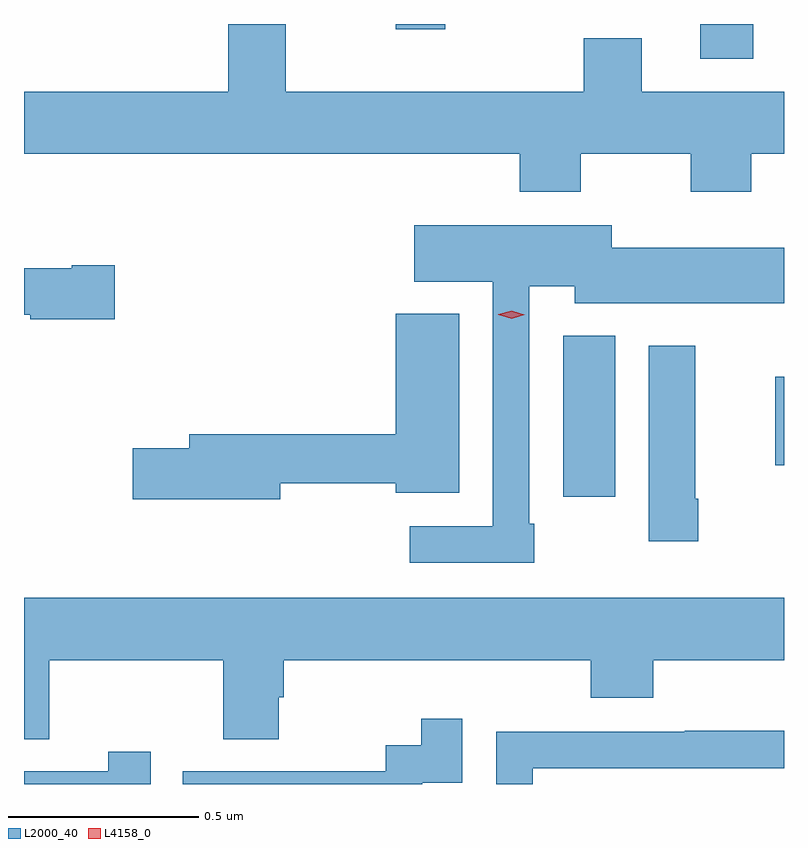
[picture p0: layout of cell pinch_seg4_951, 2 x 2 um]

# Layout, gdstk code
import gdstk
lib = gdstk.Library(unit=1e-6, precision=1e-09)
def R(c, l, rs):  # rectangles x0, y0, x1, y1
    for r in rs: c.add(gdstk.rectangle(r[:2], r[2:], *l))
def P(c, l, *ps):  # polygons
    for p in ps: c.add(gdstk.Polygon(p, *l))
L2000_40 = (2000, 40)
L4158_0 = (4158, 0)

pinch_seg4_951 = lib.new_cell('pinch_seg4_951')
R(pinch_seg4_951, L2000_40, [(648.875,805.242,649.012,805.666), (649.433,805.325,649.456,805.558), (649.235,806.394,649.375,806.486), (648.434,806.472,648.565,806.486)])
P(pinch_seg4_951, L2000_40, [(648.921,806.144),(649.21,806.144),(649.21,806.045),(649.37,806.045),(649.37,806.144),(649.456,806.144),(649.456,806.308),(649.081,806.308),(649.081,806.449),(648.929,806.449),(648.929,806.308),(648.145,806.308),(648.145,806.486),(647.993,806.486),(647.993,806.308),(647.456,806.308),(647.456,806.144),(648.761,806.144),(648.761,806.045),(648.921,806.045)],
  [(648.799,805.171),(648.786,805.171),(648.786,805.796),(648.905,805.796),(648.905,805.751),(649.456,805.751),(649.456,805.897),(649.003,805.897),(649.003,805.957),(648.483,805.957),(648.483,805.808),(648.69,805.808),(648.69,805.164),(648.471,805.164),(648.471,805.068),(648.799,805.068)],
  [(647.695,805.851),(647.582,805.851),(647.582,805.843),(647.456,805.843),(647.456,805.721),(647.472,805.721),(647.472,805.709),(647.695,805.709)],
  [(648.13,805.278),(648.434,805.278),(648.434,805.253),(648.601,805.253),(648.601,805.723),(648.434,805.723),(648.434,805.406),(647.891,805.406),(647.891,805.37),(647.742,805.37),(647.742,805.235),(648.13,805.235)],
  [(649.23,805.237),(649.222,805.237),(649.222,805.639),(649.1,805.639),(649.1,805.125),(649.23,805.125)],
  [(647.523,804.812),(647.98,804.812),(647.98,804.604),(648.127,804.604),(648.127,804.714),(648.14,804.714),(648.14,804.812),(648.947,804.812),(648.947,804.713),(649.112,804.713),(649.112,804.812),(649.456,804.812),(649.456,804.976),(647.456,804.976),(647.456,804.604),(647.523,804.604)],
  [(648.504,804.489),(648.609,804.489),(648.609,804.658),(648.501,804.658),(648.501,804.588),(648.408,804.588),(648.408,804.519),(647.874,804.519),(647.874,804.486),(648.504,804.486)],
  [(648.795,804.528),(649.456,804.528),(649.456,804.626),(649.195,804.626),(649.195,804.624),(648.699,804.624),(648.699,804.486),(648.795,804.486)],
  [(647.789,804.571),(647.678,804.571),(647.678,804.519),(647.456,804.519),(647.456,804.486),(647.789,804.486)])
P(pinch_seg4_951, L4158_0, [(648.739,805.711),(648.704,805.721),(648.704,805.722),(648.704,805.722),(648.739,805.731),(648.774,805.721),(648.774,805.721),(648.774,805.721)])

lib.write_gds('pinch_seg4_951.gds')
